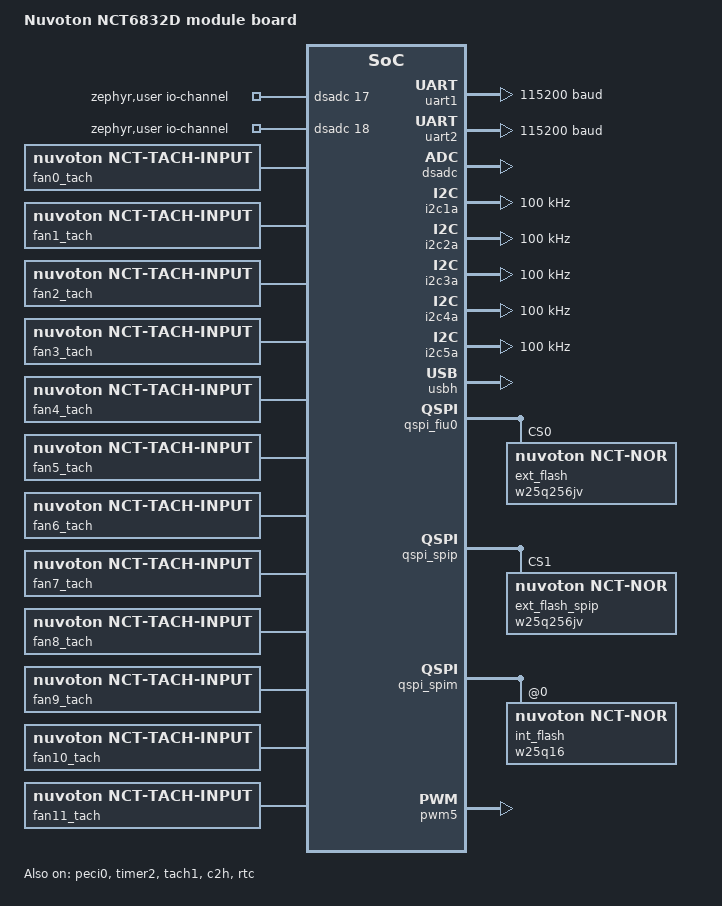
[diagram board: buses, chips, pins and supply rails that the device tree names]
/*
 * Copyright (c) 2025 Nuvoton Technology Corporation.
 *
 * SPDX-License-Identifier: Apache-2.0
 */

/dts-v1/;

#include <nuvoton/nct6832d.dtsi>
#include <nuvoton/nct/nct68/nct68-pinctrl.dtsi>

/ {
	model = "Nuvoton NCT6832D module board";

	chosen {
		zephyr,sram = &sram0;
		zephyr,flash = &flash0;
		zephyr,shell-uart = &uart1;
		zephyr,console = &uart1;
	};

	aliases {
		watchdog0 = &twd;
		rtc = &rtc;
		taf-flash = &ext_flash;
	};

	zephyr,user {
		/* adjust channel number according to enum adc_channel_en in adc_nct.c */
		/* Because VIN16, THR16, TD2P is the same pin, it must only select one type.
		 * Because VIN15, THR15, TD0P is the same pin, it must only select one type.
		 * Because VIN14, THR14, TD1P is the same pin, it must only select one type.
		 * Because VIN1, THR1, TD3P is the same pin, it must only select one type.
		 * Because VIN2, THR2, TD4P is the same pin, it must only select one type.
		 * Exsample : if you select channel 8(VIN16),
		 *            and you can't select channel 9(THR16) and channel 22(TD2P).
		 */
		io-channels = <&dsadc 17>, <&dsadc 18>;
	};
};

&uart1 {
	status = "okay";
	current-speed = <115200>;
	pinctrl-0 = <&cr_uart1_sin_gp14 &cr_uart1_sout_gp15>;
	pinctrl-names = "default";
};

&uart2 {
	status = "okay";
	current-speed = <115200>;
	pinctrl-0 = <&cr_uart2_sin_gp30 &cr_uart2_sout_gp31>;
	pinctrl-names = "default";
};

&peci0 {
	status = "okay";
	pinctrl-0 = <&peci0_gp97>;
	pinctrl-names = "default";
};

&dsadc {
	status = "okay";
	/* Pin D7 is shared by thermal signal VIN16, THR16, TD2P.
	 * Pin C7 is shared by thermal signal VIN15, THR15, TD1P.
	 * Pin A6 is shared by thermal signal VIN14, THR14, TD0P.
	 * Pin B6 is shared by thermal signal VIN1, THR1, TD3P.
	 * Pin C6 is shared by thermal signal VIN2, THR2, TD4P.
	 */
	pinctrl-0 = <&adc_vin7_gp86   /* VIN7 - C8 */
		     &adc_vin5_gp87   /* VIN5 - F7 */
		     &adc_vin16_gp90  /* VIN16/THR16/TD2P - D7 */
		     &adc_vin15_gp91  /* VIN15/THR15/TD1P - C7 */
		     &adc_vin14_gp92  /* VIN14/THR14/TD0P - A6 */
		     &adc_vin1_gp93   /* VIN1/THR1/TD3P - B6 */
		     &adc_vin2_gp94   /* VIN2/THR2/TD4P - C6 */
		     &adc_vin3_gp95>; /* VIN3 - D6 */
	pinctrl-names = "default";
};

&i2c1a {
	status = "okay";
	pinctrl-0 = <&i2c1a_scl_sda_gp60_61>;
	pinctrl-names = "default";
	clock-frequency = <I2C_BITRATE_STANDARD>;
};

&i2c2a {
	status = "okay";
	pinctrl-0 = <&i2c2a_scl_sda_gp11_13>;
	pinctrl-names = "default";
	clock-frequency = <I2C_BITRATE_STANDARD>;
};

&i2c3a {
	status = "okay";
	pinctrl-0 = <&i2c3a_scl_sda_gpa7_a2>;
	pinctrl-names = "default";
	clock-frequency = <I2C_BITRATE_STANDARD>;
};

&i2c4a {
	status = "okay";
	pinctrl-0 = <&i2c4a_scl_sda_gp36_37>;
	pinctrl-names = "default";
	clock-frequency = <I2C_BITRATE_STANDARD>;
};

&i2c5a {
	status = "okay";
	pinctrl-0 = <&i2c5a_scl_sda_gp34_35>;
	pinctrl-names = "default";
	clock-frequency = <I2C_BITRATE_STANDARD>;
};

&i2c6a {
	status = "disabled";
	pinctrl-0 = <&i2c6a_scl_gp96 &i2c6a_sda_gp97>;
	pinctrl-names = "default";
	clock-frequency = <I2C_BITRATE_STANDARD>;
};

&i2c2b {
	status = "disabled";
	pinctrl-0 = <&i2c2b_scl_sda_gpa0_a1>;
	pinctrl-names = "default";
	clock-frequency = <I2C_BITRATE_STANDARD>;
};

&i2c5b {
	status = "disabled";
	pinctrl-0 = <&i2c5b_scl_sda_gpa3_a4>;
	pinctrl-names = "default";
	clock-frequency = <I2C_BITRATE_STANDARD>;
};

&i2c6b {
	status = "disabled";
	pinctrl-0 = <&i2c6b_scl_sda_gp16_17>;
	pinctrl-names = "default";
	clock-frequency = <I2C_BITRATE_STANDARD>;
};

&usbh {
    status = "okay";
};

// &spip1 {
// 	pinctrl-0 = <&pspi1_clk_io0_io1_io2_io3_cs_gp66_67_70_73_76_77>;
// 	pinctrl-names = "default";
// 	status = "okay";
// };

&qspi_fiu0 {
	ext_flash: w25q256jv@0 {
		compatible ="nuvoton,nct-nor";
		size = <DT_SIZE_M(32 * 8)>;
		reg = <0>;
		enter-4byte-addr = <0x0>;
		status = "okay";
		quad-enable-requirements = "S2B1v1";
		rd-mode = "NCT_RD_MODE_QUAD";

		/* quad spi bus configuration of nor flash device */
		qspi-flags = <NCT_QSPI_SW_CS1>;
		mapped-addr = <0x70000000>;
		pinctrl-0 = <&fiu0_shd_cs_io0_io1_clk_gp44_45_46_47
			&fiu0_shd_quad_io2_io3_clk_gp55_56>;
		pinctrl-names = "default";
	};
};
 
&qspi_spip {
	ext_flash_spip: w25q256jv@1 {
		compatible ="nuvoton,nct-nor";
		size = <DT_SIZE_M(32 * 8)>;
		reg = <1>;
		enter-4byte-addr = <0x2>;
		status = "okay";
		rd-mode = "NCT_RD_MODE_NORMAL";
 
		qspi-flags = <NCT_QSPI_SW_CS0>;
		pinctrl-0 = < &pspi1_clk_io0_io1_io2_io3_cs_gp66_67_70_73_76_77 >;
		pinctrl-names = "default";
	};
};
 
&qspi_spim {
	int_flash: w25q16@0 {
		compatible ="nuvoton,nct-nor";
		size = <DT_SIZE_M(1 * 8)>;
		status = "okay";
		quad-enable-requirements = "S2B1v1";
		rd-mode = "NCT_RD_MODE_QUAD";
		mapped-addr = <0x00080000>;
		qspi-flags = <NCT_QSPI_SW_CS0>;
   };
};

&timer2 {
	prescaler = <2>;
	status = "okay";
};

&pwm5 {
	pinctrl-0 = <&pwm4_sl_gpa0>;
	pinctrl-names = "default";
	status = "okay";
};

/* Enable MFT1 controller with LFCLK source */
&tach1 {
	clocks = <&pcc NCT_CLOCK_MFT1_LF>;
	status = "okay";
};

/* Tachometer inputs: fan0-fan11 on TA0-TA11, all multiplexed through MFT1 */
/ {
	fan0_tach: fan0-tach {
		compatible = "nuvoton,nct-tach-input";
		mft = <&tach1>;
		pin-select = <NCT_TACH_PIN_SELECT_0>;
		sample-clk = <NCT_TACH_FREQ_LFCLK>;
		pulses-per-round = <2>;
		pinctrl-0 = <&ta0_sl_gp83>;
		pinctrl-names = "default";
		status = "okay";
	};
	fan1_tach: fan1-tach {
		compatible = "nuvoton,nct-tach-input";
		mft = <&tach1>;
		pin-select = <NCT_TACH_PIN_SELECT_1>;
		sample-clk = <NCT_TACH_FREQ_LFCLK>;
		pulses-per-round = <2>;
		pinctrl-0 = <&ta1_sl_gp05>;
		pinctrl-names = "default";
		status = "okay";
	};
	fan2_tach: fan2-tach {
		compatible = "nuvoton,nct-tach-input";
		mft = <&tach1>;
		pin-select = <NCT_TACH_PIN_SELECT_2>;
		sample-clk = <NCT_TACH_FREQ_LFCLK>;
		pulses-per-round = <2>;
		pinctrl-0 = <&ta2_sl_gp37>;
		pinctrl-names = "default";
		status = "okay";
	};
	fan3_tach: fan3-tach {
		compatible = "nuvoton,nct-tach-input";
		mft = <&tach1>;
		pin-select = <NCT_TACH_PIN_SELECT_3>;
		sample-clk = <NCT_TACH_FREQ_LFCLK>;
		pulses-per-round = <2>;
		pinctrl-0 = <&ta3_sl_gp81>;
		pinctrl-names = "default";
		status = "okay";
	};
	fan4_tach: fan4-tach {
		compatible = "nuvoton,nct-tach-input";
		mft = <&tach1>;
		pin-select = <NCT_TACH_PIN_SELECT_4>;
		sample-clk = <NCT_TACH_FREQ_LFCLK>;
		pulses-per-round = <2>;
		pinctrl-0 = <&ta4_sl_gpa1>;
		pinctrl-names = "default";
		status = "okay";
	};
	fan5_tach: fan5-tach {
		compatible = "nuvoton,nct-tach-input";
		mft = <&tach1>;
		pin-select = <NCT_TACH_PIN_SELECT_5>;
		sample-clk = <NCT_TACH_FREQ_LFCLK>;
		pulses-per-round = <2>;
		pinctrl-0 = <&ta5_sl_gpa4>;
		pinctrl-names = "default";
		status = "okay";
	};
	fan6_tach: fan6-tach {
		compatible = "nuvoton,nct-tach-input";
		mft = <&tach1>;
		pin-select = <NCT_TACH_PIN_SELECT_6>;
		sample-clk = <NCT_TACH_FREQ_LFCLK>;
		pulses-per-round = <2>;
		pinctrl-0 = <&ta6_sl_gpa6>;
		pinctrl-names = "default";
		status = "okay";
	};
	fan7_tach: fan7-tach {
		compatible = "nuvoton,nct-tach-input";
		mft = <&tach1>;
		pin-select = <NCT_TACH_PIN_SELECT_7>;
		sample-clk = <NCT_TACH_FREQ_LFCLK>;
		pulses-per-round = <2>;
		pinctrl-0 = <&ta7_sl_gp01>;
		pinctrl-names = "default";
		status = "okay";
	};
	fan8_tach: fan8-tach {
		compatible = "nuvoton,nct-tach-input";
		mft = <&tach1>;
		pin-select = <NCT_TACH_PIN_SELECT_8>;
		sample-clk = <NCT_TACH_FREQ_LFCLK>;
		pulses-per-round = <2>;
		pinctrl-0 = <&ta8_sl_gp03>;
		pinctrl-names = "default";
		status = "okay";
	};
	fan9_tach: fan9-tach {
		compatible = "nuvoton,nct-tach-input";
		mft = <&tach1>;
		pin-select = <NCT_TACH_PIN_SELECT_9>;
		sample-clk = <NCT_TACH_FREQ_LFCLK>;
		pulses-per-round = <2>;
		pinctrl-0 = <&ta9_sl_gp07>;
		pinctrl-names = "default";
		status = "okay";
	};
	fan10_tach: fan10-tach {
		compatible = "nuvoton,nct-tach-input";
		mft = <&tach1>;
		pin-select = <NCT_TACH_PIN_SELECT_10>;
		sample-clk = <NCT_TACH_FREQ_LFCLK>;
		pulses-per-round = <2>;
		pinctrl-0 = <&ta10_sl_gp32>;
		pinctrl-names = "default";
		status = "okay";
	};
	fan11_tach: fan11-tach {
		compatible = "nuvoton,nct-tach-input";
		mft = <&tach1>;
		pin-select = <NCT_TACH_PIN_SELECT_11>;
		sample-clk = <NCT_TACH_FREQ_LFCLK>;
		pulses-per-round = <2>;
		pinctrl-0 = <&ta11_sl_gpc1>;
		pinctrl-names = "default";
		status = "okay";
	};
};

&c2h {
	status = "okay";
};

&rtc {
	alarms_count = <1>;
	status = "okay";
};


&gpio0 {
	gpio-line-names = "GPIO00_Pin7","GPIO01_Pin8","GPIO02_Pin9","GPIO03_Pin10",
			"GPIO04_Pin11","GPIO05_Pin12","GPIO06_Pin13","GPIO07_Pin14";
};

&gpio1 {
	gpio-line-names = "GPIO10_Pin29","GPIO11_Pin30","GPIO12_Pin31","GPIO13_Pin32",
			"GPIO14_Pin33","GPIO15_Pin34","GPIO16_Pin35","GPIO17_Pin36";
};

&gpio2 {
	gpio-line-names = "GPIO20_Pin38","GPIO21_Pin39","GPIO22_Pin40","GPIO23_Pin41",
			"GPIO24_Pin42","GPIO25_Pin43","GPIO26_Pin44","GPIO27_Pin45";
};

&gpio3 {
	gpio-line-names = "GPIO30_Pin47","GPIO31_Pin48","GPIO32_Pin49","GPIO33_Pin50",
			"GPIO34_Pin51","GPIO35_Pin52","GPIO36_Pin53","GPIO37_Pin54";
};

&gpio4 {
	gpio-line-names = "GPIO40_Pin56","GPIO41_Pin57","GPIO42_Pin58","GPIO43_Pin59",
			"GPIO44_Pin66","GPIO45_Pin67","GPIO46_Pin68","GPIO47_Pin69";
};

&gpio5 {
	gpio-line-names = "GPIO50_Pin60_PSOUT","GPIO51_Pin61_PSIN","GPIO52_Pin63_PSON","GPIO53_Pin64_SLPS3",
			"GPIO54_Pin65_SCI","GPIO55_Pin70","GPIO56_Pin71","GPIO57_X";
	gpio-reserved-ranges = <7 1>;
};

&gpio6 {
	gpio-line-names = "GPIO60_Pin77","GPIO61_Pin78","GPIO62_Pin79","GPIO63_Pin80_ATXPGD",
			"GPIO64_Pin83_DPWROK","GPIO65_Pin84_SLPS5","GPIO66_Pin86","GPIO67_Pin87";
};

&gpio7 {
	gpio-line-names = "GPIO70_Pin88","GPIO71_Pin89_SLPSUS","GPIO72_Pin90_FWRDY","GPIO73_Pin91",
			"GPIO74_Pin92","GPIO75_Pin93_JEN","GPIO76_Pin95","GPIO77_Pin96";
};

&gpio8 {
	gpio-line-names = "GPIO80_Pin97","GPIO81_Pin98","GPIO82_Pin103","GPIO83_Pin104",
			"GPIO84_Pin105","GPIO85_Pin106","GPIO86_Pin107","GPIO87_Pin109";
};

&gpio9 {
	gpio-line-names = "GPIO90_Pin111","GPIO91_Pin112","GPIO92_Pin113","GPIO93_Pin114",
			"GPIO94_Pin115","GPIO95_Pin116","GPIO96_Pin118","GPIO97_Pin120";
};

&gpioa {
	gpio-line-names = "GPIOA0_Pin121","GPIOA1_Pin122","GPIOA2_Pin123","GPIOA3_Pin124",
			"GPIOA4_Pin125","GPIOA5_Pin126","GPIOA6_Pin127","GPIOA7_Pin128";
};

&gpiob {
	gpio-line-names = "GPIOB0_Pin2_SMI","GPIOB1_X","GPIOB2_Pin18","GPIOB3_Pin19",
			"GPIOB4_Pin27_ESPIEN","GPIOB5_Pin28","GPIOB6_Pin55","GPIOB7_Pin26_LRESET";
			gpio-reserved-ranges = <1 1>;
};

&gpioc {
	gpio-line-names = "GPIOC0_X","GPIOC1_X","GPIOC2_X","GPIOC3_X",
			"GPIOC4_X","GPIOC5_X","GPIOC6_X","GPIOC7_X";
	gpio-reserved-ranges = <0 8>;
};

&gpioe {
	gpio-line-names = "GPIOE0_Pin74","GPIOE1_Pin73_DPWROK","GPIOE2_Pin81_PWROK","GPIOE3_Pin37_FWRDY",
			"GPIOE4_Pin100","GPIOE5_Pin101_RSMRST","GPIOE6_Pin102","GPIOE7_X";
	gpio-reserved-ranges = <7 1>;
};
